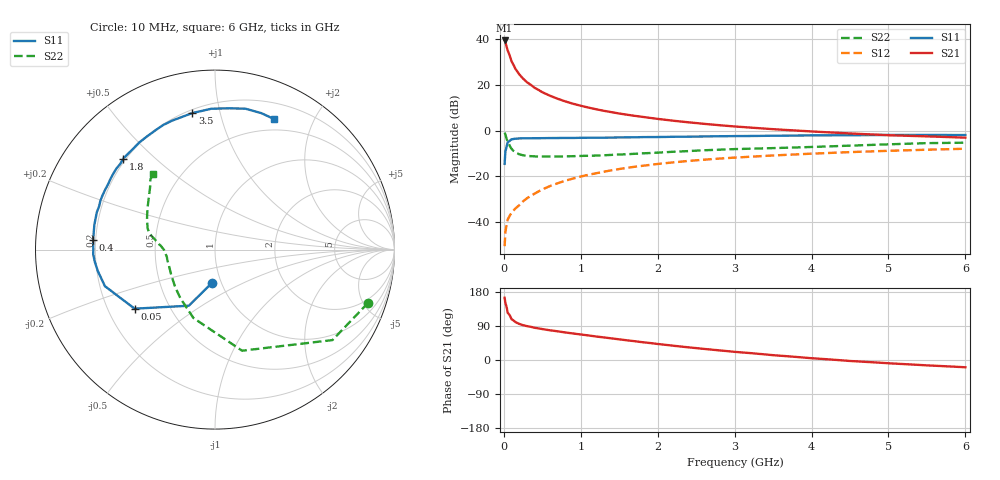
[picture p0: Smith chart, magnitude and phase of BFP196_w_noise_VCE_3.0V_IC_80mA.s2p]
! (c) 2017  Infineon Technologies AG, Munich
! Infineon Technologies  Discrete & RF Semiconductors
! BFP196
! VCE =  3.0 V,  IC =  80 mA
! Common Emitter S-Parameters:  Jan 2017
# GHz  S  MA  R  50
!  f  S11  S21  S12  S22
! GHz  MAG  ANG  MAG  ANG  MAG  ANG  MAG  ANG
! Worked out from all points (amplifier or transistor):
!   77 points, 10 MHz to 6 GHz, reference 50 ohm
!   highest |S21| = 39.3 dB at 10 MHz (marker M1)
!   |S21| within 3 dB of that: start of sweep to 38.43 MHz
!   unconditionally stable (mu >= 1): 390.3 MHz to 2.518 GHz
!   at 130 MHz: K = 0.75, MSG = 31.6 dB, |S12| = -34.8 dB
!   at 2.2 GHz: K = 1.01, MAG = 8.5 dB, |S12| = -13.9 dB
!   at 6 GHz: K = 0.97, MSG = 2.4 dB, |S12| = -7.9 dB
!   lowest NFmin = 1.78 dB at 450 MHz
!   S11 on the Smith chart (normalised r, x): 10 MHz: 0.90, -0.35; 50 MHz: 0.31, -0.30; 400 MHz: 0.19, +0.04; 1.8 GHz: 0.19, +0.40; 3.5 GHz: 0.22, +0.82; 6 GHz: 0.37, +1.49
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0.01  0.1875 -95.5  92.46 164.2  0.003 79.4  0.9028 -19.2
0.02  0.3451 -115.0  85.12 150.5  0.0061 73.1  0.8262 -37.6
0.05  0.5558 -143.7  55.91 124.5  0.0114 57.4  0.5832 -75.0
0.1  0.6462 -161.6  32.39 107.4  0.016 58.2  0.3994 -107.5
0.15  0.6639 -169.7  22.28 100.0  0.0199 60.4  0.3326 -125.4
0.2  0.673 -174.2  16.9 95.3  0.0235 64.8  0.3041 -137.0
0.25  0.6792 -177.8  13.59 91.8  0.0285 66.0  0.2885 -144.7
0.3  0.6779 179.6  11.36 89.4  0.0332 67.2  0.2806 -150.8
0.4  0.6813 175.4  8.578 85.1  0.042 69.2  0.2732 -158.3
0.5  0.6826 171.6  6.869 81.6  0.0518 69.6  0.2711 -163.5
0.6  0.6861 168.4  5.751 78.4  0.0615 69.8  0.272 -167.5
0.7  0.6874 165.5  4.933 75.7  0.0708 69.7  0.2712 -170.6
0.9  0.6891 159.6  3.844 70.0  0.0896 67.8  0.2759 -174.7
1.1  0.696 153.9  3.171 64.8  0.1084 65.3  0.2818 -178.2
1.4  0.7031 145.9  2.519 57.0  0.1359 61.4  0.2944 177.8
1.8  0.7195 135.2  1.992 47.0  0.1701 55.6  0.3177 173.7
2.1  0.7259 127.7  1.718 40.1  0.1941 51.2  0.337 170.8
3.1  0.7585 106.5  1.195 19.9  0.2624 36.9  0.3977 161.1
3.5  0.7712 99.4  1.072 12.7  0.286 32.0  0.4142 156.2
4.1  0.7852 90.1  0.937 3.4  0.318 24.4  0.4439 147.7
5.1  0.8023 76.5  0.782 -9.7  0.3652 12.6  0.5065 135.5
6  0.7986 65.6  0.7 -19.2  0.401 2.6  0.5436 129.2
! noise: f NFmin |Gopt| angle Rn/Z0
0.45  1.78  0.5  -170  0.06
0.9  1.95  0.53  -157  0.1
1.9  2.8  0.7  -130  0.4
2.4  3.2  0.7  -116  0.87
